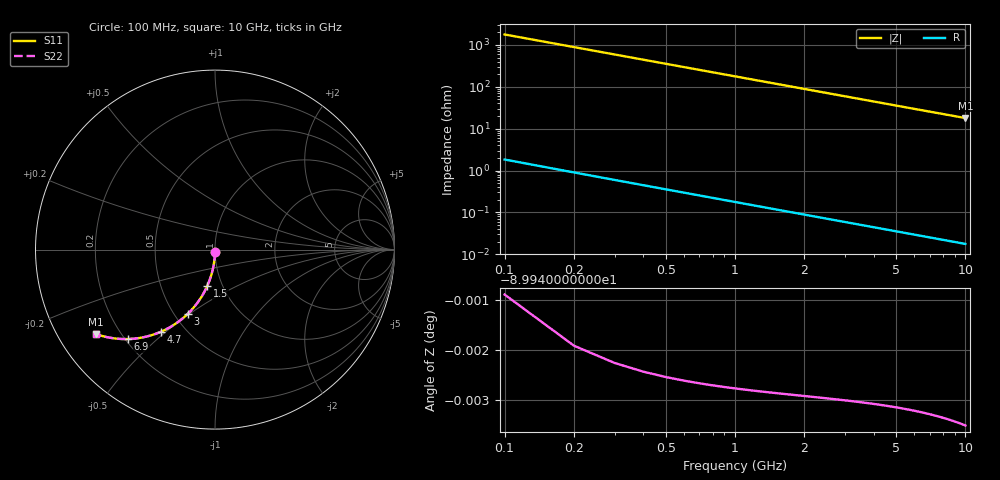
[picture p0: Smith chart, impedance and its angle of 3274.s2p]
# Hz S RI R 50.00
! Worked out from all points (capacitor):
!   100 points, 100 MHz to 10 GHz, reference 50 ohm
!   read as one part in shunt: C = 896 fF near 100 MHz
!   lowest |Z| = 17.9 ohm at 10 GHz (marker M1)
!   S11 on the Smith chart (normalised r, x): 100 MHz: 1.00, -0.03; 1.5 GHz: 0.85, -0.36; 3 GHz: 0.58, -0.49; 4.7 GHz: 0.37, -0.48; 6.9 GHz: 0.21, -0.41; 10 GHz: 0.11, -0.32
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1e8  -0.000203 -0.014  0.9998 -0.0141  0.9998 -0.0141  -0.000203 -0.014
2e8  -0.00081 -0.0281  0.9992 -0.0281  0.9992 -0.0281  -0.00081 -0.0281
3e8  -0.00181 -0.0421  0.9982 -0.0422  0.9982 -0.0422  -0.00181 -0.0421
4e8  -0.0032 -0.056  0.9968 -0.0561  0.9968 -0.0561  -0.0032 -0.056
5e8  -0.00498 -0.0699  0.995 -0.0701  0.995 -0.0701  -0.00498 -0.0699
6e8  -0.00715 -0.0837  0.9928 -0.0839  0.9928 -0.0839  -0.00715 -0.0837
7e8  -0.00969 -0.0974  0.9903 -0.0976  0.9903 -0.0976  -0.00969 -0.0974
9e8  -0.0159 -0.1244  0.9841 -0.1247  0.9841 -0.1247  -0.0159 -0.1244
1.2e9  -0.0278 -0.1639  0.9721 -0.1642  0.9721 -0.1642  -0.0278 -0.1639
1.5e9  -0.0428 -0.2016  0.9572 -0.2021  0.9572 -0.2021  -0.0428 -0.2016
1.8e9  -0.0604 -0.2374  0.9396 -0.238  0.9396 -0.238  -0.0604 -0.2374
2.4e9  -0.1024 -0.3023  0.8976 -0.303  0.8976 -0.303  -0.1024 -0.3023
3e9  -0.1511 -0.3572  0.8489 -0.3581  0.8489 -0.3581  -0.1511 -0.3572
3.4e9  -0.1859 -0.388  0.8141 -0.3891  0.8141 -0.3891  -0.1859 -0.388
4e9  -0.24 -0.426  0.76 -0.4272  0.76 -0.4272  -0.24 -0.426
4.7e9  -0.3033 -0.4585  0.6967 -0.4599  0.6967 -0.4599  -0.3033 -0.4585
5.1e9  -0.3387 -0.472  0.6613 -0.4735  0.6613 -0.4735  -0.3387 -0.472
5.9e9  -0.4063 -0.4898  0.5936 -0.4915  0.5936 -0.4915  -0.4063 -0.4898
6.7e9  -0.4685 -0.4975  0.5315 -0.4995  0.5315 -0.4995  -0.4685 -0.4975
6.9e9  -0.4831 -0.4982  0.5169 -0.5002  0.5169 -0.5002  -0.4831 -0.4982
8.4e9  -0.5801 -0.4918  0.4199 -0.4943  0.4199 -0.4943  -0.5801 -0.4918
1e10  -0.6614 -0.4712  0.3386 -0.4742  0.3386 -0.4742  -0.6614 -0.4712
